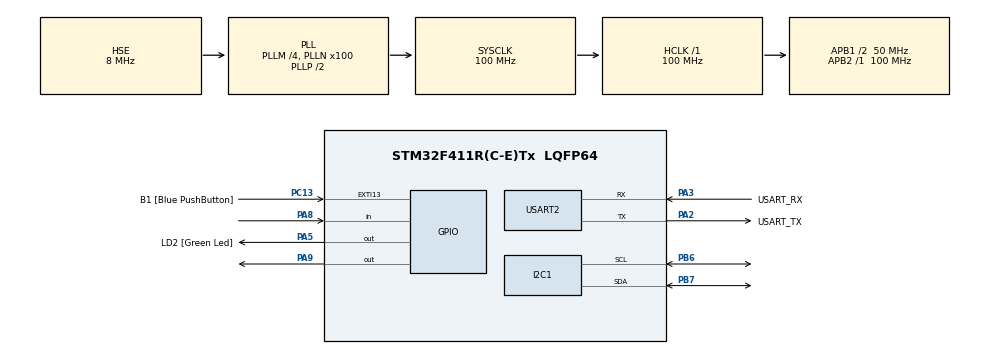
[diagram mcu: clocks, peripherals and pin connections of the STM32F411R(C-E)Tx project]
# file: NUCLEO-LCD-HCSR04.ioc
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I2C1.I2C_Mode=I2C_Fast
Mcu.Family=STM32F4
Mcu.Name=STM32F411R(C-E)Tx
Mcu.Package=LQFP64
NVIC.PriorityGroup=NVIC_PRIORITYGROUP_0
PA13.GPIO_Label=TMS
PA13.Mode=Serial_Wire
PA13.Signal=SYS_JTMS-SWDIO
PA14.GPIO_Label=TCK
PA14.Mode=Serial_Wire
PA14.Signal=SYS_JTCK-SWCLK
PA2.GPIO_Label=USART_TX
PA2.Mode=Asynchronous
PA2.Signal=USART2_TX
PA3.GPIO_Label=USART_RX
PA3.Mode=Asynchronous
PA3.Signal=USART2_RX
PA5.GPIO_Label=LD2 [Green Led]
PA5.Signal=GPIO_Output
PA8.Signal=GPIO_Input
PA9.Signal=GPIO_Output
PB3.GPIO_Label=SWO
PB3.Signal=SYS_JTDO-SWO
PB6.Mode=I2C
PB6.Signal=I2C1_SCL
PB7.Mode=I2C
PB7.Signal=I2C1_SDA
PC13-ANTI_TAMP.GPIO_Label=B1 [Blue PushButton]
PC13-ANTI_TAMP.GPIO_ModeDefaultEXTI=GPIO_MODE_IT_FALLING
PC13-ANTI_TAMP.Signal=GPXTI13
PC14-OSC32_IN.Signal=RCC_OSC32_IN
PC15-OSC32_OUT.Signal=RCC_OSC32_OUT
PH0\ -\ OSC_IN.Mode=HSE-External-Oscillator
PH0\ -\ OSC_IN.Signal=RCC_OSC_IN
PH1\ -\ OSC_OUT.Mode=HSE-External-Oscillator
PH1\ -\ OSC_OUT.Signal=RCC_OSC_OUT
ProjectManager.HeapSize=0x200
ProjectManager.StackSize=0x400
ProjectManager.TargetToolchain=STM32CubeIDE
RCC.48MHZClocksFreq_Value=50000000
RCC.AHBFreq_Value=100000000
RCC.APB1CLKDivider=RCC_HCLK_DIV2
RCC.APB1Freq_Value=50000000
RCC.APB1TimFreq_Value=100000000
RCC.APB2Freq_Value=100000000
RCC.APB2TimFreq_Value=100000000
RCC.CortexFreq_Value=100000000
RCC.FLatency-AdvancedSettings=FLASH_LATENCY_3
RCC.HCLKFreq_Value=100000000
RCC.HSE_VALUE=8000000
RCC.HSI_VALUE=16000000
RCC.LSE_VALUE=32768
RCC.PLLM=4
RCC.PLLN=100
RCC.PLLSourceVirtual=RCC_PLLSOURCE_HSE
RCC.SYSCLKFreq_VALUE=100000000
RCC.SYSCLKSource=RCC_SYSCLKSOURCE_PLLCLK
RCC.VCOOutputFreq_Value=200000000
TIM1.Prescaler=71
USART2.VirtualMode=VM_ASYNC
VP_TIM1_VS_ClockSourceINT.Mode=Internal
board=NUCLEO-F411RE

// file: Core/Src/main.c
/* USER CODE BEGIN Header */
/**
  ******************************************************************************
  * @file           : main.c
  * @brief          : Main program body
  ******************************************************************************
  * @attention
  *
  * Copyright (c) 2025 STMicroelectronics.
  * All rights reserved.
  *
  * This software is licensed under terms that can be found in the LICENSE file
  * in the root directory of this software component.
  * If no LICENSE file comes with this software, it is provided AS-IS.
  *
  ******************************************************************************
  */
/* USER CODE END Header */
#include "main.h"
#include <stdbool.h>
#include <stdio.h>
#include "lcd1602_i2c_lib.h"

extern char lcd1602_tx_buffer[80];

I2C_HandleTypeDef hi2c1;

TIM_HandleTypeDef htim1;

UART_HandleTypeDef huart2;

/* USER CODE BEGIN PV */
#define TRIG_PIN GPIO_PIN_9
#define TRIG_PORT GPIOA
#define ECHO_PIN GPIO_PIN_8
#define ECHO_PORT GPIOA
uint32_t pMillis;
uint32_t Value1 = 0;
uint32_t Value2 = 0;
uint16_t Distance  = 0;  // cm
/* USER CODE END PV */

void SystemClock_Config(void);
static void MX_GPIO_Init(void);
static void MX_USART2_UART_Init(void);
static void MX_TIM1_Init(void);
static void MX_I2C1_Init(void);

int main(void)
{

  /* MCU Configuration--------------------------------------------------------*/

  /* Reset of all peripherals, Initializes the Flash interface and the Systick. */
  HAL_Init();

  /* Configure the system clock */
  SystemClock_Config();

  /* Initialize all configured peripherals */
  MX_GPIO_Init();
  MX_USART2_UART_Init();
  MX_TIM1_Init();
  MX_I2C1_Init();
  /* USER CODE BEGIN 2 */
  HAL_Delay(100);
  lcd1602_Init();
  HAL_TIM_Base_Start(&htim1);
  HAL_GPIO_WritePin(TRIG_PORT, TRIG_PIN, GPIO_PIN_RESET);  // pull the TRIG pin low
  /* USER CODE END 2 */

  /* Infinite loop */
  /* USER CODE BEGIN WHILE */
  while (1)
  {
	    HAL_GPIO_WritePin(TRIG_PORT, TRIG_PIN, GPIO_PIN_SET);  // pull the TRIG pin HIGH
	    __HAL_TIM_SET_COUNTER(&htim1, 0);
	    while (__HAL_TIM_GET_COUNTER (&htim1) < 10);  // wait for 10 us
	    HAL_GPIO_WritePin(TRIG_PORT, TRIG_PIN, GPIO_PIN_RESET);  // pull the TRIG pin low

	    pMillis = HAL_GetTick(); // used this to avoid infinite while loop  (for timeout)
	    // wait for the echo pin to go high
	    while (!(HAL_GPIO_ReadPin (ECHO_PORT, ECHO_PIN)) && pMillis + 10 >  HAL_GetTick());
	    Value1 = __HAL_TIM_GET_COUNTER (&htim1);

	    pMillis = HAL_GetTick(); // used this to avoid infinite while loop (for timeout)
	    // wait for the echo pin to go low
	    while ((HAL_GPIO_ReadPin (ECHO_PORT, ECHO_PIN)) && pMillis + 50 > HAL_GetTick());
	    Value2 = __HAL_TIM_GET_COUNTER (&htim1);

	    Distance = (Value2-Value1)* 0.034/2;

	    lcd1602_SetCursor(0, 0);
	    sprintf(lcd1602_tx_buffer, "Distance = %d     ", Distance);
	    lcd1602_Print_text(lcd1602_tx_buffer);

	    HAL_Delay(1000);
    /* USER CODE END WHILE */

  }
}

void SystemClock_Config(void)
{
  RCC_OscInitTypeDef RCC_OscInitStruct = {0};
  RCC_ClkInitTypeDef RCC_ClkInitStruct = {0};

  /** Configure the main internal regulator output voltage
  */
  __HAL_RCC_PWR_CLK_ENABLE();
  __HAL_PWR_VOLTAGESCALING_CONFIG(PWR_REGULATOR_VOLTAGE_SCALE1);

  /** Initializes the RCC Oscillators according to the specified parameters
  * in the RCC_OscInitTypeDef structure.
  */
  RCC_OscInitStruct.OscillatorType = RCC_OSCILLATORTYPE_HSE;
  RCC_OscInitStruct.HSEState = RCC_HSE_ON;
  RCC_OscInitStruct.PLL.PLLState = RCC_PLL_ON;
  RCC_OscInitStruct.PLL.PLLSource = RCC_PLLSOURCE_HSE;
  RCC_OscInitStruct.PLL.PLLM = 4;
  RCC_OscInitStruct.PLL.PLLN = 100;
  RCC_OscInitStruct.PLL.PLLP = RCC_PLLP_DIV2;
  RCC_OscInitStruct.PLL.PLLQ = 4;
  if (HAL_RCC_OscConfig(&RCC_OscInitStruct) != HAL_OK)
  {
    Error_Handler();
  }

  /** Initializes the CPU, AHB and APB buses clocks
  */
  RCC_ClkInitStruct.ClockType = RCC_CLOCKTYPE_HCLK|RCC_CLOCKTYPE_SYSCLK
                              |RCC_CLOCKTYPE_PCLK1|RCC_CLOCKTYPE_PCLK2;
  RCC_ClkInitStruct.SYSCLKSource = RCC_SYSCLKSOURCE_PLLCLK;
  RCC_ClkInitStruct.AHBCLKDivider = RCC_SYSCLK_DIV1;
  RCC_ClkInitStruct.APB1CLKDivider = RCC_HCLK_DIV2;
  RCC_ClkInitStruct.APB2CLKDivider = RCC_HCLK_DIV1;

  if (HAL_RCC_ClockConfig(&RCC_ClkInitStruct, FLASH_LATENCY_3) != HAL_OK)
  {
    Error_Handler();
  }
}

static void MX_I2C1_Init(void)
{

  hi2c1.Instance = I2C1;
  hi2c1.Init.ClockSpeed = 400000;
  hi2c1.Init.DutyCycle = I2C_DUTYCYCLE_2;
  hi2c1.Init.OwnAddress1 = 0;
  hi2c1.Init.AddressingMode = I2C_ADDRESSINGMODE_7BIT;
  hi2c1.Init.DualAddressMode = I2C_DUALADDRESS_DISABLE;
  hi2c1.Init.OwnAddress2 = 0;
  hi2c1.Init.GeneralCallMode = I2C_GENERALCALL_DISABLE;
  hi2c1.Init.NoStretchMode = I2C_NOSTRETCH_DISABLE;
  if (HAL_I2C_Init(&hi2c1) != HAL_OK)
  {
    Error_Handler();
  }

}

static void MX_TIM1_Init(void)
{

  TIM_ClockConfigTypeDef sClockSourceConfig = {0};
  TIM_MasterConfigTypeDef sMasterConfig = {0};

  htim1.Instance = TIM1;
  htim1.Init.Prescaler = 71;
  htim1.Init.CounterMode = TIM_COUNTERMODE_UP;
  htim1.Init.Period = 65535;
  htim1.Init.ClockDivision = TIM_CLOCKDIVISION_DIV1;
  htim1.Init.RepetitionCounter = 0;
  htim1.Init.AutoReloadPreload = TIM_AUTORELOAD_PRELOAD_DISABLE;
  if (HAL_TIM_Base_Init(&htim1) != HAL_OK)
  {
    Error_Handler();
  }
  sClockSourceConfig.ClockSource = TIM_CLOCKSOURCE_INTERNAL;
  if (HAL_TIM_ConfigClockSource(&htim1, &sClockSourceConfig) != HAL_OK)
  {
    Error_Handler();
  }
  sMasterConfig.MasterOutputTrigger = TIM_TRGO_RESET;
  sMasterConfig.MasterSlaveMode = TIM_MASTERSLAVEMODE_DISABLE;
  if (HAL_TIMEx_MasterConfigSynchronization(&htim1, &sMasterConfig) != HAL_OK)
  {
    Error_Handler();
  }

}

static void MX_USART2_UART_Init(void)
{

  huart2.Instance = USART2;
  huart2.Init.BaudRate = 115200;
  huart2.Init.WordLength = UART_WORDLENGTH_8B;
  huart2.Init.StopBits = UART_STOPBITS_1;
  huart2.Init.Parity = UART_PARITY_NONE;
  huart2.Init.Mode = UART_MODE_TX_RX;
  huart2.Init.HwFlowCtl = UART_HWCONTROL_NONE;
  huart2.Init.OverSampling = UART_OVERSAMPLING_16;
  if (HAL_UART_Init(&huart2) != HAL_OK)
  {
    Error_Handler();
  }

}

static void MX_GPIO_Init(void)
{
  GPIO_InitTypeDef GPIO_InitStruct = {0};

  /* GPIO Ports Clock Enable */
  __HAL_RCC_GPIOC_CLK_ENABLE();
  __HAL_RCC_GPIOH_CLK_ENABLE();
  __HAL_RCC_GPIOA_CLK_ENABLE();
  __HAL_RCC_GPIOB_CLK_ENABLE();

  /*Configure GPIO pin Output Level */
  HAL_GPIO_WritePin(GPIOA, LD2_Pin|GPIO_PIN_9, GPIO_PIN_RESET);

  /*Configure GPIO pin : B1_Pin */
  GPIO_InitStruct.Pin = B1_Pin;
  GPIO_InitStruct.Mode = GPIO_MODE_IT_FALLING;
  GPIO_InitStruct.Pull = GPIO_NOPULL;
  HAL_GPIO_Init(B1_GPIO_Port, &GPIO_InitStruct);

  /*Configure GPIO pins : LD2_Pin PA9 */
  GPIO_InitStruct.Pin = LD2_Pin|GPIO_PIN_9;
  GPIO_InitStruct.Mode = GPIO_MODE_OUTPUT_PP;
  GPIO_InitStruct.Pull = GPIO_NOPULL;
  GPIO_InitStruct.Speed = GPIO_SPEED_FREQ_LOW;
  HAL_GPIO_Init(GPIOA, &GPIO_InitStruct);

  /*Configure GPIO pin : PA8 */
  GPIO_InitStruct.Pin = GPIO_PIN_8;
  GPIO_InitStruct.Mode = GPIO_MODE_INPUT;
  GPIO_InitStruct.Pull = GPIO_NOPULL;
  HAL_GPIO_Init(GPIOA, &GPIO_InitStruct);

}

void Error_Handler(void)
{
  __disable_irq();
  while (1)
  {
  }
}
